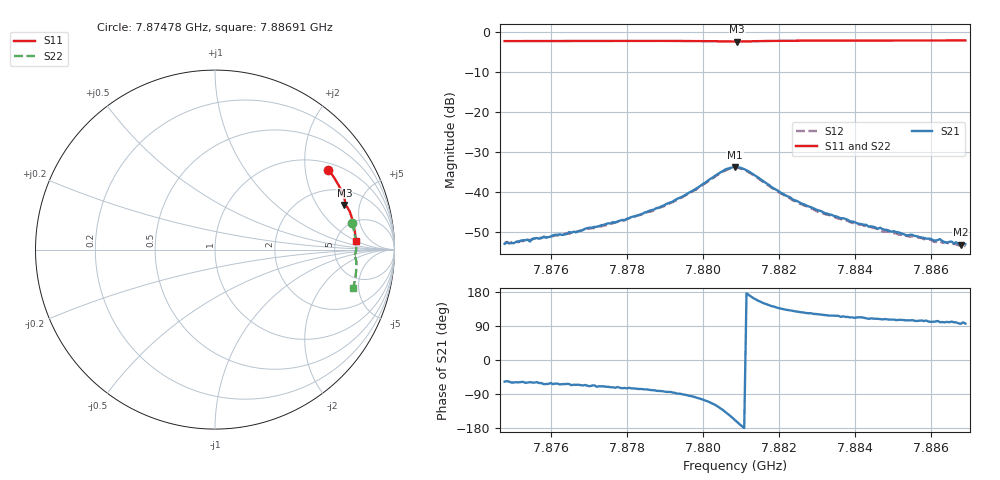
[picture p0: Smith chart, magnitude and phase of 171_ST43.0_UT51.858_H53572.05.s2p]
#  HZ  S  DB  R  50.00
! Rohde & Schwarz Vector Network Analyzer
! Rohde-Schwarz,ZNB20-2Port,1311601062101988,3.16
! Created: UTC 1/12/2023, 6:42:03 PM
! freq[Hz]  db:S11  ang:S11  db:S21  ang:S21  db:S12  ang:S12  db:S22  ang:S22
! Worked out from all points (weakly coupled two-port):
!   201 points, 7.87478 GHz to 7.88691 GHz, reference 50 ohm
!   highest |S21| = -33.65 dB at 7.88084 GHz (marker M1); lowest = -53.0 dB at 7.88678 GHz (marker M2)
!   lowest |S11| = -2.4 dB at 7.8809 GHz (marker M3), VSWR 7.41, Z = 150 + j178 ohm
!   |S11| at or under -10 dB: nowhere
!   |S22| runs from -2.3 to -1.9 dB; largest |S21 - S12| = 0.0014
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7.874775e9  -2.24 35.1  -52.83 -57.1  -52.66 -61.1  -2.18 11.2
7.875382e9  -2.23 33.4  -51.79 -59.5  -51.84 -61.6  -2.16 9.7
7.875443e9  -2.23 33.2  -52.25 -58.4  -51.93 -62.6  -2.16 9.5
7.875564e9  -2.23 32.9  -51.46 -59.7  -51.55 -65.1  -2.15 9.3
7.876292e9  -2.21 30.9  -50.63 -63.6  -50.69 -68.4  -2.14 7.5
7.876838e9  -2.20 29.4  -49.40 -67.2  -49.38 -70.5  -2.12 6.3
7.878172e9  -2.19 25.8  -46.01 -74.9  -46.28 -79.2  -2.10 3.1
7.878839e9  -2.19 23.9  -43.81 -81.6  -43.82 -85.0  -2.09 1.5
7.879688e9  -2.21 21.5  -39.74 -95.3  -39.98 -99.2  -2.10 -0.6
7.880598e9  -2.33 19.2  -34.20 -138.0  -34.48 -141.1  -2.22 -2.5
7.880841e9  -2.36 19.0  -33.65 -158.4  -33.87 -161.9  -2.26 -2.6
7.880901e9  -2.36 19.0  -33.68 -163.9  -33.87 -167.2  -2.26 -2.6
7.881265e9  -2.29 18.6  -35.14 167.1  -35.29 163.7  -2.19 -2.8
7.882357e9  -2.16 15.6  -41.72 129.9  -41.95 126.1  -2.04 -5.2
7.882903e9  -2.14 14.1  -43.96 121.8  -44.18 119.1  -2.01 -6.5
7.883873e9  -2.12 11.5  -47.25 112.2  -47.38 110.4  -1.99 -8.8
7.884905e9  -2.10 8.8  -49.57 106.5  -49.88 105.1  -1.97 -11.0
7.886239e9  -2.09 5.2  -51.66 99.7  -52.21 95.3  -1.96 -14.0
7.886421e9  -2.09 4.8  -52.55 100.6  -52.55 97.5  -1.95 -14.3
7.886664e9  -2.08 4.1  -52.45 99.2  -52.99 95.9  -1.94 -14.9
7.886785e9  -2.08 3.8  -53.05 95.6  -53.37 95.9  -1.94 -15.1
7.886906e9  -2.08 3.5  -52.91 96.1  -53.41 93.8  -1.95 -15.4
